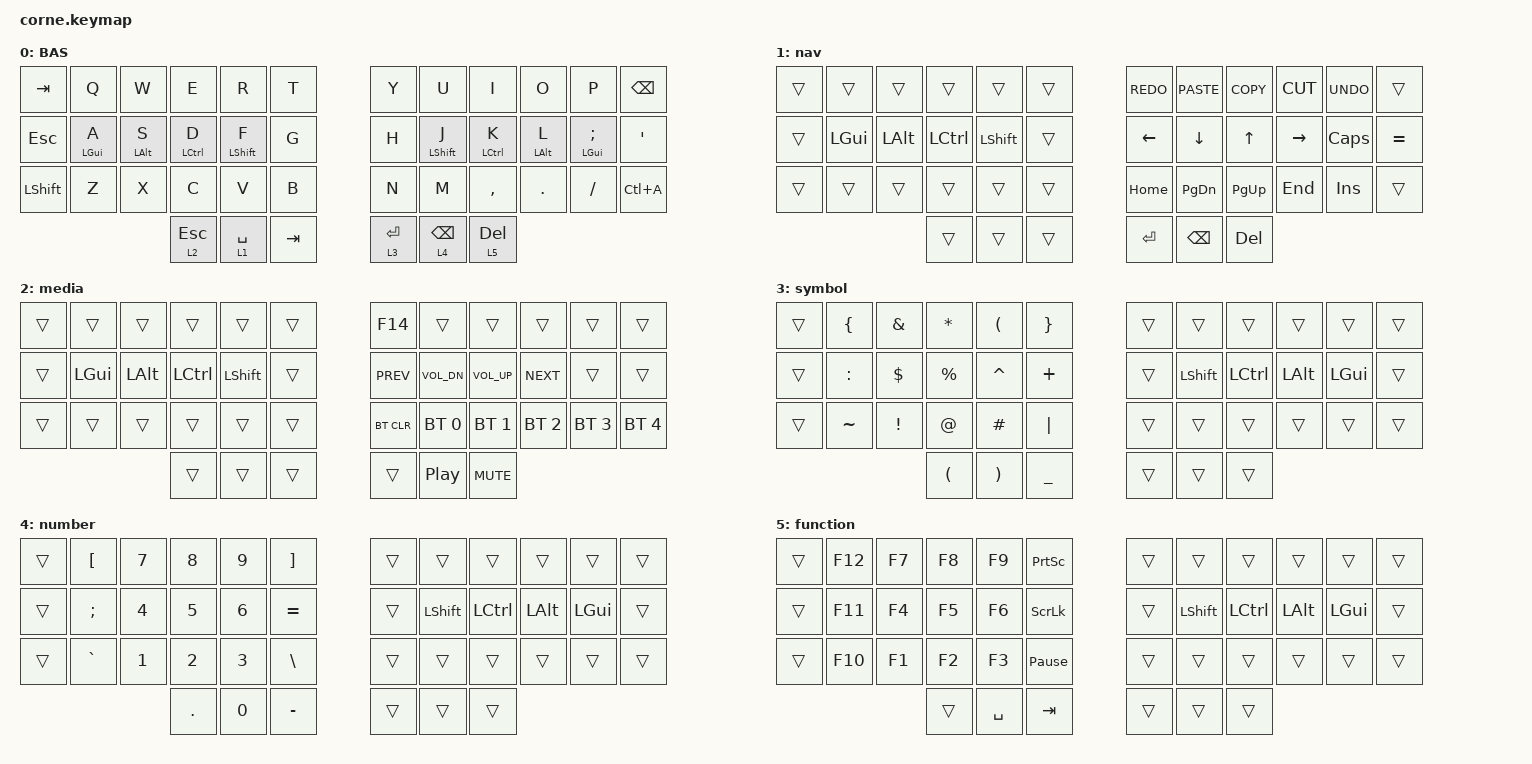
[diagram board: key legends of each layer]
/*
 * Copyright (c) 2020 The ZMK Contributors
 *
 * SPDX-License-Identifier: MIT
 */

#include <behaviors.dtsi>
#include <dt-bindings/zmk/keys.h>
#include <dt-bindings/zmk/bt.h>
#include <dt-bindings/zmk/outputs.h>
#include <dt-bindings/zmk/ext_power.h>
#include <dt-bindings/zmk/reset.h>

/ {
    behaviors {
        // urob's "timeless" homerow mods: https://github.com/urob/zmk-config
        // Same-hand key presses always resolve to tap (no matter timing);
        // opposite-hand presses can resolve to hold, decided on release.
        hml: homerow_mods_left {
            compatible = "zmk,behavior-hold-tap";
            #binding-cells = <2>;
            flavor = "balanced";
            tapping-term-ms = <280>;
            quick-tap-ms = <175>;
            require-prior-idle-ms = <115>;
            bindings = <&kp>, <&kp>;
            hold-trigger-key-positions = <6 7 8 9 10 11 18 19 20 21 22 23 30 31 32 33 34 35 36 37 38 39 40 41>;
            hold-trigger-on-release;
        };

        hmr: homerow_mods_right {
            compatible = "zmk,behavior-hold-tap";
            #binding-cells = <2>;
            flavor = "balanced";
            tapping-term-ms = <280>;
            quick-tap-ms = <175>;
            require-prior-idle-ms = <115>;
            bindings = <&kp>, <&kp>;
            hold-trigger-key-positions = <0 1 2 3 4 5 12 13 14 15 16 17 24 25 26 27 28 29 36 37 38 39 40 41>;
            hold-trigger-on-release;
        };

        hml_shift: homerow_mods_left_shift {
            compatible = "zmk,behavior-hold-tap";
            #binding-cells = <2>;
            flavor = "balanced";
            tapping-term-ms = <280>;
            quick-tap-ms = <175>;
            bindings = <&kp>, <&kp>;
            hold-trigger-key-positions = <6 7 8 9 10 11 18 19 20 21 22 23 30 31 32 33 34 35 36 37 38 39 40 41>;
        };

        hmr_shift: homerow_mods_right_shift {
            compatible = "zmk,behavior-hold-tap";
            #binding-cells = <2>;
            flavor = "balanced";
            tapping-term-ms = <280>;
            quick-tap-ms = <175>;
            bindings = <&kp>, <&kp>;
            hold-trigger-key-positions = <0 1 2 3 4 5 12 13 14 15 16 17 24 25 26 27 28 29 36 37 38 39 40 41>;
        };
    };

    keymap {
        compatible = "zmk,keymap";

        default_layer {
            display-name = "BAS";
            // layer 0
            // -----------------------------------------------------------------------------------------
            // | TAB  |  Q  |  W  |  E  |  R  |  T  |   |  Y  |  U  |  I  |  O  |  P  | BKSP  |
            // | ESC  |  A  |  S  |  D  |  F  |  G  |   |  H  |  J  |  K  |  L  |  ;  |  '    |
            // |      | gui | alt | ctl | sft |     |   |     | sft | ctl | alt | gui |       |
            // | SHFT |  Z  |  X  |  C  |  V  |  B  |   |  N  |  M  |  ,  |  .  |  /  | C-A   |
            //                    | MED | NAV | TAB |  | SYM | NUM  | FUN |
            // A/S/D/F and J/K/L/; are hold-tap home row mods (hml/hmr); MED/NAV/SYM/NUM/FUN
            // are layer-taps (tap = ESC/SPACE/RET/BSPC/DEL, hold = layers 2/1/3/4/5).

            bindings = <
&kp TAB    &kp Q  &kp W  &kp E     &kp R  &kp T                             &kp Y    &kp U  &kp I      &kp O    &kp P     &kp BSPC
&kp ESC  &hml LGUI A  &hml LALT S  &hml LCTRL D  &hml_shift LSHFT F  &kp G        &kp H    &hmr_shift LSHFT J  &hmr LCTRL K  &hmr LALT L  &hmr LGUI SEMI  &kp SQT
&kp LSHFT  &kp Z  &kp X  &kp C     &kp V  &kp B                             &kp N    &kp M  &kp COMMA  &kp DOT  &kp FSLH  &kp LC(A)
                         &lt 2 ESC  &lt 1 SPACE  &kp TAB                    &lt 3 RET  &lt 4 BSPC  &lt 5 DEL
            >;
        };

        nav {
            display-name = "nav";
            // layer 1 - held from default layer's left thumb (lt 1 SPACE)
            // -----------------------------------------------------------------------------------------
            // |     |     |     |     |     |     |   | REDO | PASTE | COPY | CUT | UNDO |       |
            // |     | gui | alt | ctl | sft |     |   | LEFT | DOWN  | UP   | RIGHT | CAPS | =  |
            // |     |     |     |     |     |     |   | HOME | PG_DN | PG_UP | END | INS |       |
            //                    |     |     |     |   | RET | BSPC | DEL |
            // left-hand mods are plain (not hold-tap) so they chord with the right-hand nav keys,
            // e.g. hold Ctrl (row2) + tap Left/Right for word-wise movement.

            bindings = <
&trans     &trans        &trans        &trans        &trans       &trans           &kp K_REDO    &kp K_PASTE    &kp K_COPY    &kp K_CUT     &kp K_UNDO  &trans
&trans     &kp LGUI  &kp LALT      &kp LCTRL         &kp LSHFT    &trans           &kp LEFT  &kp DOWN  &kp UP    &kp RIGHT  &kp CAPSLOCK  &kp EQUAL
&trans     &trans        &trans        &trans        &trans       &trans           &kp HOME    &kp PAGE_DOWN    &kp PAGE_UP    &kp END     &kp INSERT  &trans
                                       &trans      &trans         &trans           &kp RET   &kp BSPC    &kp DEL
            >;
        };

        media {
            display-name = "media";
            // layer 2 - held from default layer's left thumb (lt 2 ESC)
            // -----------------------------------------------------------------------------------------
            // |     |     |     |     |     |     |   | F14  |      |      |      |      |      |
            // |     | gui | alt | ctl | sft |     |   | PREV | VOL- | VOL+ | NEXT |      |      |
            // |     |     |     |     |     |     |   | BTCLR| BT0  | BT1  | BT2  | BT3  | BT4  |
            //                    |     |     |     |   |      | PLAY | MUTE |

            bindings = <

&trans     &trans        &trans        &trans        &trans       &trans           &kp F14    &trans    &trans    &trans     &trans  &trans
&trans     &kp LGUI  &kp LALT      &kp LCTRL         &kp LSHFT    &trans           &kp C_PREV  &kp C_VOL_DN  &kp C_VOL_UP    &kp C_NEXT  &trans  &trans
&trans     &trans        &trans        &trans        &trans       &trans           &bt BT_CLR    &bt BT_SEL 0   &bt BT_SEL 1    &bt BT_SEL 2     &bt BT_SEL 3  &bt BT_SEL 4
                                       &trans      &trans         &trans           &trans    &kp C_PP    &kp C_MUTE
            >;
        };
        symbol {
            display-name = "symbol";
            // layer 3 - held from default layer's right thumb (lt 3 RET)
            // -----------------------------------------------------------------------------------------
            // |     |  {  |  &  |  *  |  (  |  }  |   |     |     |     |     |     |      |
            // |     |  :  |  $  |  %  |  ^  |  +  |   |     | sft | ctl | alt | gui |      |
            // |     |  ~  |  !  |  @  |  #  |  |  |   |     |     |     |     |     |      |
            //                    |  (  |  )  |  _  |  |     |     |     |

            
            bindings = <
&trans     &kp LBRC        &kp AMPS        &kp STAR       &kp LPAR      &kp RBRC          &trans     &trans    &trans    &trans     &trans    &trans
&trans     &kp COLON       &kp DLLR        &kp PERCENT   &kp CARET      &kp PLUS          &trans     &kp LSHFT &kp LCTRL &kp LALT   &kp LGUI  &trans
&trans     &kp TILDE       &kp EXCL        &kp AT        &kp HASH       &kp PIPE            &trans    &trans    &trans    &trans     &trans    &trans
                                           &kp LPAR      &kp RPAR       &kp UNDERSCORE          &trans     &trans    &trans
            >;
        };

        number {
            display-name = "number";
            // layer 4 - held from default layer's right thumb (lt 4 BSPC)
            // -----------------------------------------------------------------------------------------
            // |     |  [  |  7  |  8  |  9  |  ]  |   |     |     |     |     |     |      |
            // |     |  ;  |  4  |  5  |  6  |  =  |   |     | sft | ctl | alt | gui |      |
            // |     |  `  |  1  |  2  |  3  |  \  |   |     |     |     |     |     |      |
            //                    |  .  |  0  |  -  |  |     |     |     |

            
            bindings = <
&trans     &kp LBKT      &kp N7        &kp N8        &kp N9      &kp RBKT        &trans     &trans    &trans    &trans     &trans    &trans
&trans     &kp SEMI      &kp N4        &kp N5        &kp N6      &kp EQUAL       &trans     &kp LSHFT &kp LCTRL &kp LALT   &kp LGUI  &trans
&trans     &kp GRAVE     &kp N1        &kp N2        &kp N3      &kp BSLH        &trans     &trans    &trans    &trans     &trans    &trans
                                       &kp DOT       &kp N0      &kp MINUS       &trans     &trans    &trans
            >;
        };

        function {
            display-name = "function";
            // layer 5 - held from default layer's right thumb (lt 5 DEL)
            // -----------------------------------------------------------------------------------------
            // |     | F12 |  F7 |  F8 |  F9 | PSCRN |  |     |     |     |     |     |      |
            // |     | F11 |  F4 |  F5 |  F6 | SLCK  |  |     | sft | ctl | alt | gui |      |
            // |     | F10 |  F1 |  F2 |  F3 | PAUSE |  |     |     |     |     |     |      |
            //                    |     | SPC | TAB  |  |     |     |     |

            
            bindings = <
&trans     &kp F12      &kp F7        &kp F8        &kp F9      &kp PSCRN         &trans     &trans    &trans    &trans     &trans    &trans
&trans     &kp F11      &kp F4        &kp F5        &kp F6      &kp SLCK          &trans     &kp LSHFT &kp LCTRL &kp LALT   &kp LGUI  &trans
&trans     &kp F10      &kp F1        &kp F2        &kp F3      &kp PAUSE_BREAK   &trans     &trans    &trans    &trans     &trans    &trans
                                      &trans        &kp SPACE   &kp TAB           &trans     &trans    &trans
            >;
        };
    };
};

// Tap a &lt key, then quickly press-and-hold it again within 200ms to repeat
// the tap keycode (e.g. hold BSPC to keep deleting) instead of activating the layer.
&lt {
    quick-tap-ms = <200>;
};
